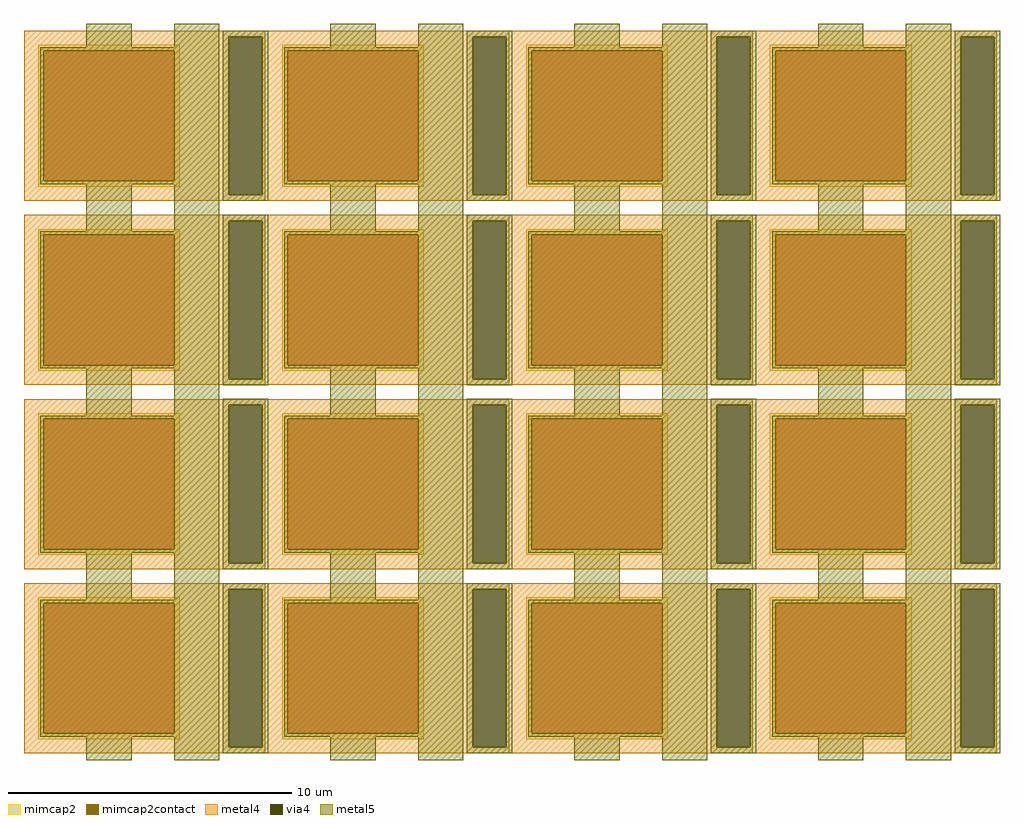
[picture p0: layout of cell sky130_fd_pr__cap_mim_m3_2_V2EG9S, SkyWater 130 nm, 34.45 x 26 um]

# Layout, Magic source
magic
tech sky130A
magscale 1 2
<< metal4 >>
rect -3434 2509 -1732 2550
rect -3434 1391 -1988 2509
rect -1752 1391 -1732 2509
rect -3434 1350 -1732 1391
rect -1712 2509 -10 2550
rect -1712 1391 -266 2509
rect -30 1391 -10 2509
rect -1712 1350 -10 1391
rect 10 2509 1712 2550
rect 10 1391 1456 2509
rect 1692 1391 1712 2509
rect 10 1350 1712 1391
rect 1732 2509 3434 2550
rect 1732 1391 3178 2509
rect 3414 1391 3434 2509
rect 1732 1350 3434 1391
rect -3434 1209 -1732 1250
rect -3434 91 -1988 1209
rect -1752 91 -1732 1209
rect -3434 50 -1732 91
rect -1712 1209 -10 1250
rect -1712 91 -266 1209
rect -30 91 -10 1209
rect -1712 50 -10 91
rect 10 1209 1712 1250
rect 10 91 1456 1209
rect 1692 91 1712 1209
rect 10 50 1712 91
rect 1732 1209 3434 1250
rect 1732 91 3178 1209
rect 3414 91 3434 1209
rect 1732 50 3434 91
rect -3434 -91 -1732 -50
rect -3434 -1209 -1988 -91
rect -1752 -1209 -1732 -91
rect -3434 -1250 -1732 -1209
rect -1712 -91 -10 -50
rect -1712 -1209 -266 -91
rect -30 -1209 -10 -91
rect -1712 -1250 -10 -1209
rect 10 -91 1712 -50
rect 10 -1209 1456 -91
rect 1692 -1209 1712 -91
rect 10 -1250 1712 -1209
rect 1732 -91 3434 -50
rect 1732 -1209 3178 -91
rect 3414 -1209 3434 -91
rect 1732 -1250 3434 -1209
rect -3434 -1391 -1732 -1350
rect -3434 -2509 -1988 -1391
rect -1752 -2509 -1732 -1391
rect -3434 -2550 -1732 -2509
rect -1712 -1391 -10 -1350
rect -1712 -2509 -266 -1391
rect -30 -2509 -10 -1391
rect -1712 -2550 -10 -2509
rect 10 -1391 1712 -1350
rect 10 -2509 1456 -1391
rect 1692 -2509 1712 -1391
rect 10 -2550 1712 -2509
rect 1732 -1391 3434 -1350
rect 1732 -2509 3178 -1391
rect 3414 -2509 3434 -1391
rect 1732 -2550 3434 -2509
<< via4 >>
rect -1988 1391 -1752 2509
rect -266 1391 -30 2509
rect 1456 1391 1692 2509
rect 3178 1391 3414 2509
rect -1988 91 -1752 1209
rect -266 91 -30 1209
rect 1456 91 1692 1209
rect 3178 91 3414 1209
rect -1988 -1209 -1752 -91
rect -266 -1209 -30 -91
rect 1456 -1209 1692 -91
rect 3178 -1209 3414 -91
rect -1988 -2509 -1752 -1391
rect -266 -2509 -30 -1391
rect 1456 -2509 1692 -1391
rect 3178 -2509 3414 -1391
<< mimcap2 >>
rect -3334 2410 -2334 2450
rect -3334 1490 -3294 2410
rect -2374 1490 -2334 2410
rect -3334 1450 -2334 1490
rect -1612 2410 -612 2450
rect -1612 1490 -1572 2410
rect -652 1490 -612 2410
rect -1612 1450 -612 1490
rect 110 2410 1110 2450
rect 110 1490 150 2410
rect 1070 1490 1110 2410
rect 110 1450 1110 1490
rect 1832 2410 2832 2450
rect 1832 1490 1872 2410
rect 2792 1490 2832 2410
rect 1832 1450 2832 1490
rect -3334 1110 -2334 1150
rect -3334 190 -3294 1110
rect -2374 190 -2334 1110
rect -3334 150 -2334 190
rect -1612 1110 -612 1150
rect -1612 190 -1572 1110
rect -652 190 -612 1110
rect -1612 150 -612 190
rect 110 1110 1110 1150
rect 110 190 150 1110
rect 1070 190 1110 1110
rect 110 150 1110 190
rect 1832 1110 2832 1150
rect 1832 190 1872 1110
rect 2792 190 2832 1110
rect 1832 150 2832 190
rect -3334 -190 -2334 -150
rect -3334 -1110 -3294 -190
rect -2374 -1110 -2334 -190
rect -3334 -1150 -2334 -1110
rect -1612 -190 -612 -150
rect -1612 -1110 -1572 -190
rect -652 -1110 -612 -190
rect -1612 -1150 -612 -1110
rect 110 -190 1110 -150
rect 110 -1110 150 -190
rect 1070 -1110 1110 -190
rect 110 -1150 1110 -1110
rect 1832 -190 2832 -150
rect 1832 -1110 1872 -190
rect 2792 -1110 2832 -190
rect 1832 -1150 2832 -1110
rect -3334 -1490 -2334 -1450
rect -3334 -2410 -3294 -1490
rect -2374 -2410 -2334 -1490
rect -3334 -2450 -2334 -2410
rect -1612 -1490 -612 -1450
rect -1612 -2410 -1572 -1490
rect -652 -2410 -612 -1490
rect -1612 -2450 -612 -2410
rect 110 -1490 1110 -1450
rect 110 -2410 150 -1490
rect 1070 -2410 1110 -1490
rect 110 -2450 1110 -2410
rect 1832 -1490 2832 -1450
rect 1832 -2410 1872 -1490
rect 2792 -2410 2832 -1490
rect 1832 -2450 2832 -2410
<< mimcap2contact >>
rect -3294 1490 -2374 2410
rect -1572 1490 -652 2410
rect 150 1490 1070 2410
rect 1872 1490 2792 2410
rect -3294 190 -2374 1110
rect -1572 190 -652 1110
rect 150 190 1070 1110
rect 1872 190 2792 1110
rect -3294 -1110 -2374 -190
rect -1572 -1110 -652 -190
rect 150 -1110 1070 -190
rect 1872 -1110 2792 -190
rect -3294 -2410 -2374 -1490
rect -1572 -2410 -652 -1490
rect 150 -2410 1070 -1490
rect 1872 -2410 2792 -1490
<< metal5 >>
rect -2994 2434 -2674 2600
rect -2374 2434 -2054 2600
rect -3318 2410 -2054 2434
rect -3318 1490 -3294 2410
rect -2374 1490 -2054 2410
rect -3318 1466 -2054 1490
rect -2994 1134 -2674 1466
rect -2374 1134 -2054 1466
rect -2030 2509 -1710 2551
rect -2030 1391 -1988 2509
rect -1752 1391 -1710 2509
rect -1272 2434 -952 2600
rect -652 2434 -332 2600
rect -1596 2410 -332 2434
rect -1596 1490 -1572 2410
rect -652 1490 -332 2410
rect -1596 1466 -332 1490
rect -2030 1349 -1710 1391
rect -3318 1110 -2054 1134
rect -3318 190 -3294 1110
rect -2374 190 -2054 1110
rect -3318 166 -2054 190
rect -2994 -166 -2674 166
rect -2374 -166 -2054 166
rect -2030 1209 -1710 1251
rect -2030 91 -1988 1209
rect -1752 91 -1710 1209
rect -1272 1134 -952 1466
rect -652 1134 -332 1466
rect -308 2509 12 2551
rect -308 1391 -266 2509
rect -30 1391 12 2509
rect 450 2434 770 2600
rect 1070 2434 1390 2600
rect 126 2410 1390 2434
rect 126 1490 150 2410
rect 1070 1490 1390 2410
rect 126 1466 1390 1490
rect -308 1349 12 1391
rect -1596 1110 -332 1134
rect -1596 190 -1572 1110
rect -652 190 -332 1110
rect -1596 166 -332 190
rect -2030 49 -1710 91
rect -3318 -190 -2054 -166
rect -3318 -1110 -3294 -190
rect -2374 -1110 -2054 -190
rect -3318 -1134 -2054 -1110
rect -2994 -1466 -2674 -1134
rect -2374 -1466 -2054 -1134
rect -2030 -91 -1710 -49
rect -2030 -1209 -1988 -91
rect -1752 -1209 -1710 -91
rect -1272 -166 -952 166
rect -652 -166 -332 166
rect -308 1209 12 1251
rect -308 91 -266 1209
rect -30 91 12 1209
rect 450 1134 770 1466
rect 1070 1134 1390 1466
rect 1414 2509 1734 2551
rect 1414 1391 1456 2509
rect 1692 1391 1734 2509
rect 2172 2434 2492 2600
rect 2792 2434 3112 2600
rect 1848 2410 3112 2434
rect 1848 1490 1872 2410
rect 2792 1490 3112 2410
rect 1848 1466 3112 1490
rect 1414 1349 1734 1391
rect 126 1110 1390 1134
rect 126 190 150 1110
rect 1070 190 1390 1110
rect 126 166 1390 190
rect -308 49 12 91
rect -1596 -190 -332 -166
rect -1596 -1110 -1572 -190
rect -652 -1110 -332 -190
rect -1596 -1134 -332 -1110
rect -2030 -1251 -1710 -1209
rect -3318 -1490 -2054 -1466
rect -3318 -2410 -3294 -1490
rect -2374 -2410 -2054 -1490
rect -3318 -2434 -2054 -2410
rect -2994 -2600 -2674 -2434
rect -2374 -2600 -2054 -2434
rect -2030 -1391 -1710 -1349
rect -2030 -2509 -1988 -1391
rect -1752 -2509 -1710 -1391
rect -1272 -1466 -952 -1134
rect -652 -1466 -332 -1134
rect -308 -91 12 -49
rect -308 -1209 -266 -91
rect -30 -1209 12 -91
rect 450 -166 770 166
rect 1070 -166 1390 166
rect 1414 1209 1734 1251
rect 1414 91 1456 1209
rect 1692 91 1734 1209
rect 2172 1134 2492 1466
rect 2792 1134 3112 1466
rect 3136 2509 3456 2551
rect 3136 1391 3178 2509
rect 3414 1391 3456 2509
rect 3136 1349 3456 1391
rect 1848 1110 3112 1134
rect 1848 190 1872 1110
rect 2792 190 3112 1110
rect 1848 166 3112 190
rect 1414 49 1734 91
rect 126 -190 1390 -166
rect 126 -1110 150 -190
rect 1070 -1110 1390 -190
rect 126 -1134 1390 -1110
rect -308 -1251 12 -1209
rect -1596 -1490 -332 -1466
rect -1596 -2410 -1572 -1490
rect -652 -2410 -332 -1490
rect -1596 -2434 -332 -2410
rect -2030 -2551 -1710 -2509
rect -1272 -2600 -952 -2434
rect -652 -2600 -332 -2434
rect -308 -1391 12 -1349
rect -308 -2509 -266 -1391
rect -30 -2509 12 -1391
rect 450 -1466 770 -1134
rect 1070 -1466 1390 -1134
rect 1414 -91 1734 -49
rect 1414 -1209 1456 -91
rect 1692 -1209 1734 -91
rect 2172 -166 2492 166
rect 2792 -166 3112 166
rect 3136 1209 3456 1251
rect 3136 91 3178 1209
rect 3414 91 3456 1209
rect 3136 49 3456 91
rect 1848 -190 3112 -166
rect 1848 -1110 1872 -190
rect 2792 -1110 3112 -190
rect 1848 -1134 3112 -1110
rect 1414 -1251 1734 -1209
rect 126 -1490 1390 -1466
rect 126 -2410 150 -1490
rect 1070 -2410 1390 -1490
rect 126 -2434 1390 -2410
rect -308 -2551 12 -2509
rect 450 -2600 770 -2434
rect 1070 -2600 1390 -2434
rect 1414 -1391 1734 -1349
rect 1414 -2509 1456 -1391
rect 1692 -2509 1734 -1391
rect 2172 -1466 2492 -1134
rect 2792 -1466 3112 -1134
rect 3136 -91 3456 -49
rect 3136 -1209 3178 -91
rect 3414 -1209 3456 -91
rect 3136 -1251 3456 -1209
rect 1848 -1490 3112 -1466
rect 1848 -2410 1872 -1490
rect 2792 -2410 3112 -1490
rect 1848 -2434 3112 -2410
rect 1414 -2551 1734 -2509
rect 2172 -2600 2492 -2434
rect 2792 -2600 3112 -2434
rect 3136 -1391 3456 -1349
rect 3136 -2509 3178 -1391
rect 3414 -2509 3456 -1391
rect 3136 -2551 3456 -2509
<< properties >>
string FIXED_BBOX 1732 1350 2932 2550
string gencell sky130_fd_pr__cap_mim_m3_2
string library sky130
string parameters w 5.0 l 5.0 val 53.8 carea 2.00 cperi 0.19 nx 4 ny 4 dummy 0 square 0 lmin 2.00 wmin 2.00 lmax 30.0 wmax 30.0 dc 0 bconnect 1 tconnect 1 ccov 100
<< end >>
